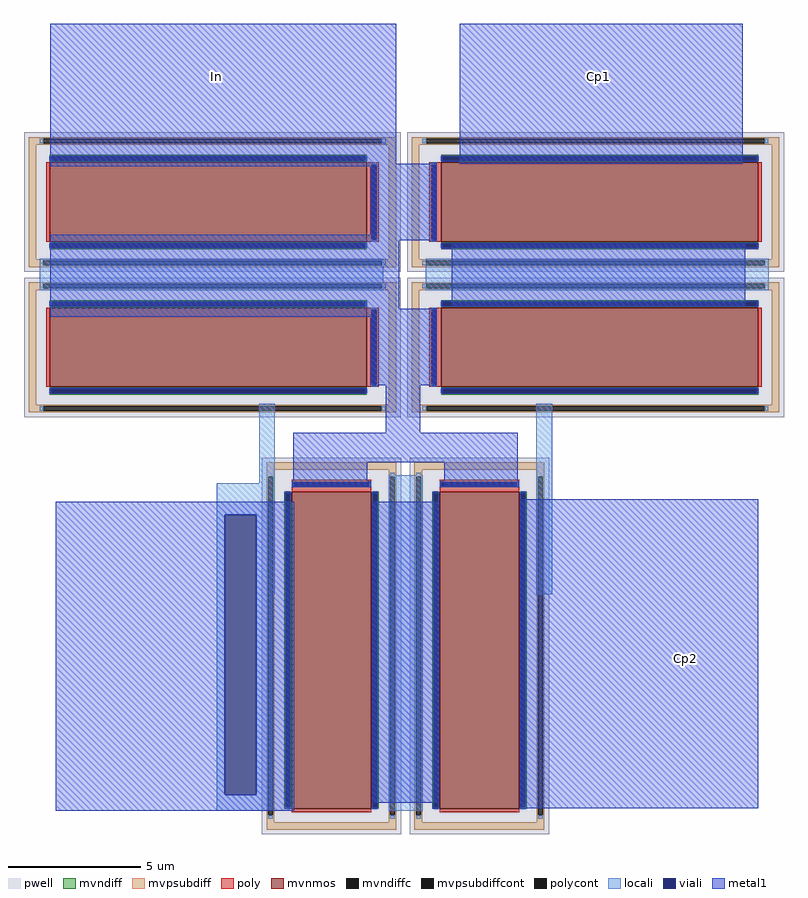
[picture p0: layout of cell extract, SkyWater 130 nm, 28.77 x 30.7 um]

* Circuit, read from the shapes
.subckt extract In Cp1 Cp2
XM1 In In n1 VSUBS sky130_fd_pr__nfet_g5v0d10v5 w=12 l=3
XM2 In In In VSUBS sky130_fd_pr__nfet_g5v0d10v5 w=12 l=3
XM3 n2 In VSUBS VSUBS sky130_fd_pr__nfet_g5v0d10v5 w=12 l=3
XM4 Cp2 In n2 VSUBS sky130_fd_pr__nfet_g5v0d10v5 w=12 l=3
XM5 n3 In n4 VSUBS sky130_fd_pr__nfet_g5v0d10v5 w=12 l=3
XM6 Cp1 In n3 VSUBS sky130_fd_pr__nfet_g5v0d10v5 w=12 l=3
.ends

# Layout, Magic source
magic
tech sky130A
magscale 1 2
<< locali >>
rect -3780 260 -1180 500
rect -860 260 1740 500
rect -2120 -1200 -2000 -600
rect -2440 -1440 -2000 -1200
rect -2440 -3560 -2380 -1440
rect -2140 -2040 -2000 -1440
rect -2140 -3560 -2020 -2040
rect -2440 -3680 -2020 -3560
rect -1140 -3680 -880 -1140
rect -20 -2040 100 -600
<< viali >>
rect -2380 -3560 -2140 -1440
<< metal1 >>
rect -3700 1220 -1080 2280
rect -600 1220 1540 2280
rect -3700 1200 -780 1220
rect -1280 680 -780 1200
rect -3700 640 -780 680
rect -3700 120 -1060 640
rect -660 140 1560 620
rect -3700 60 -774 120
rect -1280 -460 -774 60
rect -1160 -820 -900 -460
rect -1860 -1040 -160 -820
rect -1860 -1220 -1300 -1040
rect -720 -1220 -160 -1040
rect -3660 -1440 -1854 -1340
rect -3660 -3560 -2380 -1440
rect -2140 -3560 -1854 -1440
rect -3660 -3680 -1854 -3560
rect -1260 -3620 -760 -1340
rect -140 -3660 1660 -1320
use sky130_fd_pr__nfet_g5v0d10v5_CQJY2Z  sky130_fd_pr__nfet_g5v0d10v5_CQJY2Z_0
transform 0 -1 -2473 1 0 -172
box -528 -1427 528 1427
use sky130_fd_pr__nfet_g5v0d10v5_CQJY2Z  sky130_fd_pr__nfet_g5v0d10v5_CQJY2Z_1
transform -1 0 -1572 0 -1 -2433
box -528 -1427 528 1427
use sky130_fd_pr__nfet_g5v0d10v5_CQJY2Z  sky130_fd_pr__nfet_g5v0d10v5_CQJY2Z_2
transform 0 -1 -2473 1 0 928
box -528 -1427 528 1427
use sky130_fd_pr__nfet_g5v0d10v5_CQJY2Z  sky130_fd_pr__nfet_g5v0d10v5_CQJY2Z_3
transform -1 0 -452 0 -1 -2433
box -528 -1427 528 1427
use sky130_fd_pr__nfet_g5v0d10v5_CQJY2Z  sky130_fd_pr__nfet_g5v0d10v5_CQJY2Z_4
transform 0 1 427 -1 0 928
box -528 -1427 528 1427
use sky130_fd_pr__nfet_g5v0d10v5_CQJY2Z  sky130_fd_pr__nfet_g5v0d10v5_CQJY2Z_5
transform 0 1 427 -1 0 -172
box -528 -1427 528 1427
<< labels >>
rlabel metal1 -3120 1700 -1760 2060 7 In
port 0 w
rlabel metal1 -220 1700 1120 2060 3 Cp1
port 1 e
rlabel metal1 880 -3060 1340 -2000 3 Cp2
port 2 e
<< end >>

# cell sky130_fd_pr__nfet_g5v0d10v5_CQJY2Z: kit device sky130_fd_pr__nfet_g5v0d10v5, w 12 l 3 m 1 nf 1 diffcov 100 polycov 100 guard 1 glc 1 grc 1 gtc 0 gbc 0 tbcov 100 rlcov 100 topc 0 botc 1 poverlap 0 doverlap 1 lmin 0.50 wmin 0.42 compatible {sky130_fd_pr__nfet_01v8 sky130_fd_pr__nfet_01v8_lvt sky130_fd_bs_flash__special_sonosfet_star sky130_fd_pr__nfet_g5v0d10v5 sky130_fd_pr__nfet_05v0_nvt sky130_fd_pr__nfet_03v3_nvt} full_metal 1 viasrc 100 viadrn 100 viagate 100 viagb 0 viagr 0 viagl 0 viagt 0
